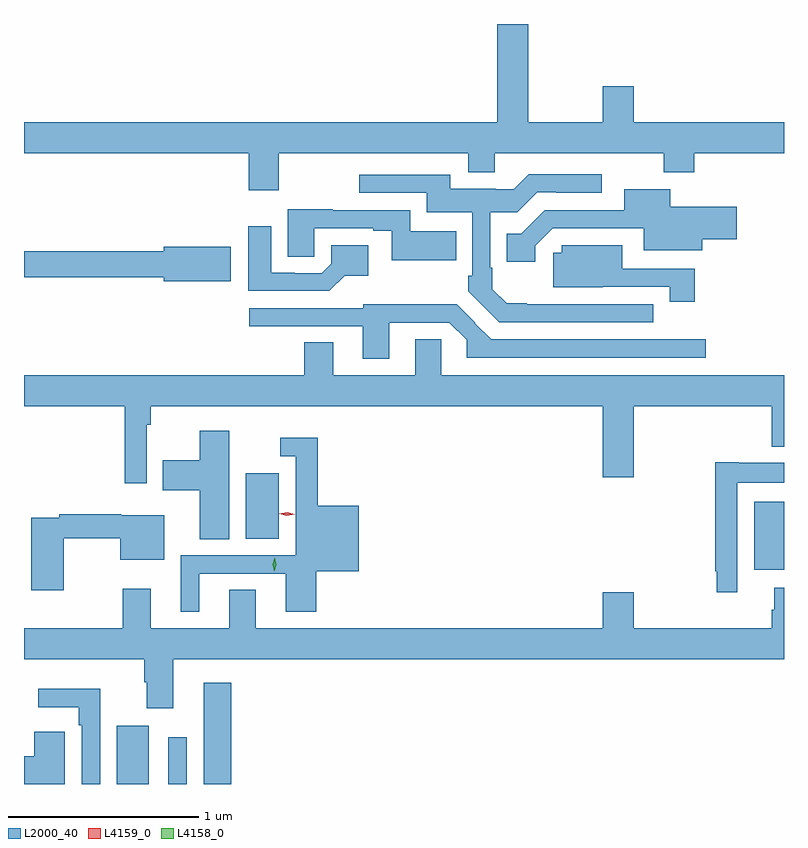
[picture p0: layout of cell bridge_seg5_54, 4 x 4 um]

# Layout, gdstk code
import gdstk
lib = gdstk.Library(unit=1e-6, precision=1e-09)
def R(c, l, rs):  # rectangles x0, y0, x1, y1
    for r in rs: c.add(gdstk.rectangle(r[:2], r[2:], *l))
def P(c, l, *ps):  # polygons
    for p in ps: c.add(gdstk.Polygon(p, *l))
L2000_40 = (2000, 40)
L4158_0 = (4158, 0)
L4159_0 = (4159, 0)

bridge_seg5_54 = lib.new_cell('bridge_seg5_54')
R(bridge_seg5_54, L2000_40, [(725.888,885.408,726.055,885.715), (726.159,885.408,726.255,885.655), (726.344,885.408,726.491,885.94), (729.242,886.536,729.399,886.894), (726.566,886.7,726.739,887.044)])
P(bridge_seg5_54, L2000_40, [(728.767,888.629),(728.927,888.629),(728.927,888.728),(729.399,888.728),(729.399,888.892),(728.608,888.892),(728.608,889.081),(728.444,889.081),(728.444,888.892),(728.053,888.892),(728.053,889.408),(727.889,889.408),(727.889,888.892),(725.399,888.892),(725.399,888.728),(726.581,888.728),(726.581,888.534),(726.741,888.534),(726.741,888.728),(727.736,888.728),(727.736,888.629),(727.876,888.629),(727.876,888.728),(728.767,888.728)],
  [(728.71,887.934),(728.044,887.934),(728.044,887.937),(727.94,887.937),(727.864,888.012),(727.864,888.124),(727.854,888.124),(727.854,888.417),(727.995,888.417),(728.1,888.522),(728.2,888.522),(728.2,888.519),(728.44,888.519),(728.44,888.616),(728.056,888.616),(727.977,888.537),(727.883,888.537),(727.883,888.541),(727.642,888.541),(727.642,888.615),(727.164,888.615),(727.164,888.519),(727.52,888.519),(727.52,888.416),(727.758,888.416),(727.758,888.082),(727.738,888.082),(727.738,888.001),(727.901,887.838),(728.71,887.838)],
  [(728.089,888.241),(728.181,888.333),(728.66,888.333),(728.66,888.218),(728.968,888.218),(728.968,888.275),(729.151,888.275),(729.151,888.445),(728.8,888.445),(728.8,888.538),(728.558,888.538),(728.558,888.429),(728.141,888.429),(728.016,888.304),(727.939,888.304),(727.939,888.156),(728.089,888.156)],
  [(727.673,888.316),(727.431,888.316),(727.431,888.429),(727.024,888.429),(727.024,888.434),(726.788,888.434),(726.788,888.184),(726.927,888.184),(726.927,888.333),(727.238,888.333),(727.238,888.321),(727.335,888.321),(727.335,888.164),(727.673,888.164)],
  [(727.086,888.083),(727.21,888.083),(727.21,888.244),(727.016,888.244),(727.016,888.146),(726.966,888.096),(726.824,888.096),(726.824,888.099),(726.7,888.099),(726.7,888.343),(726.578,888.343),(726.578,888.003),(727.006,888.003)],
  [(728.929,888.12),(728.548,888.12),(728.548,888.244),(728.228,888.244),(728.228,888.204),(728.184,888.204),(728.184,888.023),(728.444,888.023),(728.444,888.024),(728.798,888.024),(728.798,887.946),(728.929,887.946)],
  [(726.487,888.236),(726.134,888.236),(726.134,888.212),(725.399,888.212),(725.399,888.076),(726.134,888.076),(726.134,888.053),(726.487,888.053)],
  [(727.321,887.835),(727.638,887.835),(727.729,887.745),(727.729,887.652),(728.986,887.652),(728.986,887.748),(727.857,887.748),(727.772,887.833),(727.775,887.836),(727.677,887.934),(727.185,887.934),(727.185,887.913),(726.585,887.913),(726.585,887.817),(727.181,887.817),(727.181,887.646),(727.321,887.646)],
  [(726.045,887.3),(726.065,887.3),(726.065,887.396),(728.444,887.396),(728.444,887.022),(728.608,887.022),(728.608,887.396),(729.335,887.396),(729.335,887.183),(729.399,887.183),(729.399,887.56),(727.596,887.56),(727.596,887.75),(727.457,887.75),(727.457,887.56),(727.027,887.56),(727.027,887.732),(726.875,887.732),(726.875,887.56),(725.399,887.56),(725.399,887.396),(725.929,887.396),(725.929,886.992),(726.045,886.992)],
  [(726.478,887.266),(726.323,887.266),(726.323,887.113),(726.13,887.113),(726.13,886.955),(726.323,886.955),(726.323,886.696),(726.478,886.696)],
  [(726.322,886.515),(726.776,886.515),(726.776,886.314),(726.938,886.314),(726.938,886.529),(727.162,886.529),(727.162,886.873),(726.944,886.873),(726.944,887.23),(726.747,887.23),(726.747,887.133),(726.828,887.133),(726.828,886.611),(726.224,886.611),(726.224,886.314),(726.322,886.314)],
  [(729.153,886.994),(729.399,886.994),(729.399,887.098),(729.16,887.098),(729.16,887.101),(729.037,887.101),(729.037,886.528),(729.045,886.528),(729.045,886.416),(729.153,886.416)],
  [(725.608,886.701),(725.906,886.701),(725.906,886.589),(726.136,886.589),(726.136,886.822),(725.91,886.822),(725.91,886.829),(725.584,886.829),(725.584,886.809),(725.438,886.809),(725.438,886.428),(725.608,886.428)],
  [(726.184,886.064),(729.399,886.064),(729.399,886.441),(729.347,886.441),(729.347,886.326),(729.335,886.326),(729.335,886.228),(728.608,886.228),(728.608,886.417),(728.444,886.417),(728.444,886.228),(726.619,886.228),(726.619,886.43),(726.479,886.43),(726.479,886.228),(726.067,886.228),(726.067,886.435),(725.92,886.435),(725.92,886.228),(725.399,886.228),(725.399,886.064),(726.032,886.064),(726.032,885.944),(726.044,885.944),(726.044,885.807),(726.184,885.807)],
  [(725.799,885.91),(725.475,885.91),(725.475,885.812),(725.687,885.812),(725.687,885.716),(725.703,885.716),(725.703,885.408),(725.799,885.408)],
  [(725.614,885.569),(725.613,885.569),(725.613,885.682),(725.453,885.682),(725.453,885.554),(725.399,885.554),(725.399,885.408),(725.614,885.408)])
P(bridge_seg5_54, L4158_0, [(726.716,886.528),(726.716,886.528),(726.707,886.564),(726.718,886.598),(726.718,886.598),(726.719,886.598),(726.727,886.563),(726.716,886.528)])
P(bridge_seg5_54, L4159_0, [(726.783,886.819),(726.743,886.83),(726.743,886.83),(726.743,886.831),(726.784,886.839),(726.824,886.828),(726.824,886.828),(726.824,886.828)])

lib.write_gds('bridge_seg5_54.gds')
